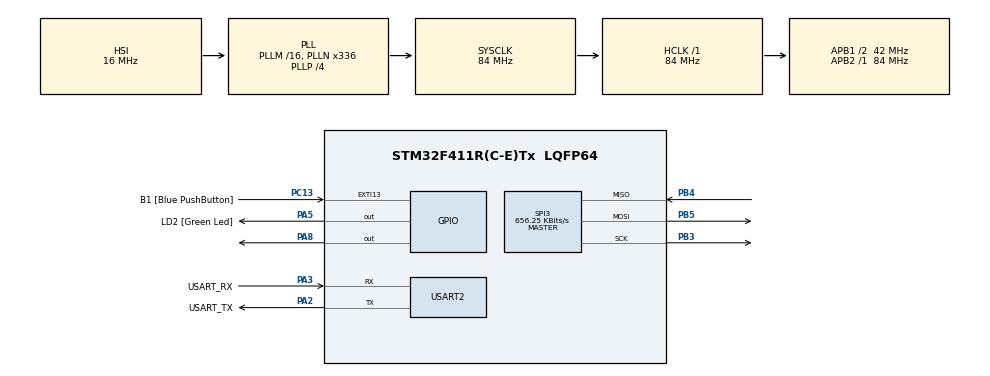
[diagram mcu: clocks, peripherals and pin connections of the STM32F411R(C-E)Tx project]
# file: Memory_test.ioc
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Mcu.Family=STM32F4
Mcu.Name=STM32F411R(C-E)Tx
Mcu.Package=LQFP64
NVIC.PriorityGroup=NVIC_PRIORITYGROUP_0
PA13.GPIO_Label=TMS
PA13.Mode=Serial_Wire
PA13.Signal=SYS_JTMS-SWDIO
PA14.GPIO_Label=TCK
PA14.Mode=Serial_Wire
PA14.Signal=SYS_JTCK-SWCLK
PA2.GPIO_Label=USART_TX
PA2.Mode=Asynchronous
PA2.Signal=USART2_TX
PA3.GPIO_Label=USART_RX
PA3.Mode=Asynchronous
PA3.Signal=USART2_RX
PA5.GPIO_Label=LD2 [Green Led]
PA5.Signal=GPIO_Output
PA8.Signal=GPIO_Output
PB3.Mode=Full_Duplex_Master
PB3.Signal=SPI3_SCK
PB4.Mode=Full_Duplex_Master
PB4.Signal=SPI3_MISO
PB5.Mode=Full_Duplex_Master
PB5.Signal=SPI3_MOSI
PC13-ANTI_TAMP.GPIO_Label=B1 [Blue PushButton]
PC13-ANTI_TAMP.GPIO_ModeDefaultEXTI=GPIO_MODE_IT_FALLING
PC13-ANTI_TAMP.Signal=GPXTI13
PC14-OSC32_IN.Mode=LSE-External-Oscillator
PC14-OSC32_IN.Signal=RCC_OSC32_IN
PC15-OSC32_OUT.Mode=LSE-External-Oscillator
PC15-OSC32_OUT.Signal=RCC_OSC32_OUT
PH0\ -\ OSC_IN.Mode=HSE-External-Clock-Source
PH0\ -\ OSC_IN.Signal=RCC_OSC_IN
PH1\ -\ OSC_OUT.Mode=HSE-External-Clock-Source
PH1\ -\ OSC_OUT.Signal=RCC_OSC_OUT
ProjectManager.HeapSize=0x200
ProjectManager.StackSize=0x400
ProjectManager.TargetToolchain=STM32CubeIDE
RCC.48MHZClocksFreq_Value=84000000
RCC.AHBFreq_Value=84000000
RCC.APB1CLKDivider=RCC_HCLK_DIV2
RCC.APB1Freq_Value=42000000
RCC.APB1TimFreq_Value=84000000
RCC.APB2Freq_Value=84000000
RCC.APB2TimFreq_Value=84000000
RCC.CortexFreq_Value=84000000
RCC.FLatency-AdvancedSettings=FLASH_LATENCY_2
RCC.HCLKFreq_Value=84000000
RCC.HSE_VALUE=8000000
RCC.HSI_VALUE=16000000
RCC.PLLN=336
RCC.PLLP=RCC_PLLP_DIV4
RCC.SYSCLKFreq_VALUE=84000000
RCC.SYSCLKSource=RCC_SYSCLKSOURCE_PLLCLK
RCC.VCOOutputFreq_Value=336000000
SPI3.BaudRatePrescaler=SPI_BAUDRATEPRESCALER_64
SPI3.CalculateBaudRate=656.25 KBits/s
SPI3.Direction=SPI_DIRECTION_2LINES
SPI3.Mode=SPI_MODE_MASTER
SPI3.VirtualType=VM_MASTER
USART2.VirtualMode=VM_ASYNC
board=NUCLEO-F411RE

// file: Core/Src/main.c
/* USER CODE BEGIN Header */
/**
  ******************************************************************************
  * @file           : main.c
  * @brief          : Main program body
  ******************************************************************************
  * @attention
  *
  * Copyright (c) 2024 STMicroelectronics.
  * All rights reserved.
  *
  * This software is licensed under terms that can be found in the LICENSE file
  * in the root directory of this software component.
  * If no LICENSE file comes with this software, it is provided AS-IS.
  *
  ******************************************************************************
  */
/* USER CODE END Header */
#include "main.h"

/* USER CODE BEGIN Includes */
#include <stdio.h>
#include <string.h>
/* USER CODE END Includes */

SPI_HandleTypeDef hspi3;

UART_HandleTypeDef huart2;

/* USER CODE BEGIN PV */

	//W25Q16JV instructions
const uint8_t MEM_WRITE_ENABLE 		= 0x06;
const uint8_t MEM_WRITE_DISABLE 	= 0x04;
const uint8_t MEM_READ_DATA	 		= 0x03;
const uint8_t MEM_PAGE_WRITE		= 0x02;
const uint8_t MEM_READ_STATUS_REG	= 0x05;
const uint8_t MEM_CHIP_ERASE 		= 0x60;
const uint8_t MEM_STAT_REG_1_WRITE  = 0x01;

/* USER CODE END PV */

void SystemClock_Config(void);
static void MX_GPIO_Init(void);
static void MX_USART2_UART_Init(void);
static void MX_SPI3_Init(void);
/* USER CODE BEGIN PFP */

void WaitBusyMem(void);

/* USER CODE END PFP */

int main(void)
{

  /* USER CODE BEGIN 1 */
	char uart_buffer[50];
	int uart_buffer_lenght;
	uint32_t spi_buf;
	HAL_StatusTypeDef returnStatus;
	uint32_t addr,masked_addr;
	uint8_t data1, data2;
	uint32_t data_buffer;
	uint64_t write_buffer;
	uint32_t read_buffer;
	uint8_t data_print1, data_print2, data_print3, data_print4;
	uint8_t from_mem;
	uint16_t status_write;

  /* USER CODE END 1 */

  /* MCU Configuration--------------------------------------------------------*/

  /* Reset of all peripherals, Initializes the Flash interface and the Systick. */
  HAL_Init();

  /* Configure the system clock */
  SystemClock_Config();

  /* Initialize all configured peripherals */
  MX_GPIO_Init();
  MX_USART2_UART_Init();
  MX_SPI3_Init();
  /* USER CODE BEGIN 2 */

  	  //Chip select line of memory is high as default
  HAL_GPIO_WritePin(GPIOA, GPIO_PIN_8, GPIO_PIN_SET);

  uart_buffer_lenght = sprintf(uart_buffer, "MEMORY TEST\r\n");
  HAL_UART_Transmit(&huart2, (uint8_t *)uart_buffer, uart_buffer_lenght, 100);

  //send write enable
  HAL_GPIO_WritePin(GPIOA, GPIO_PIN_8, GPIO_PIN_RESET);
  HAL_SPI_Transmit(&hspi3, (uint8_t *)&MEM_WRITE_ENABLE, 1, 100); //should return HAL_OK
  HAL_GPIO_WritePin(GPIOA, GPIO_PIN_8, GPIO_PIN_SET);

  //prova

  //reset the chip
  HAL_GPIO_WritePin(GPIOA, GPIO_PIN_8, GPIO_PIN_RESET);
  returnStatus = HAL_SPI_Transmit(&hspi3, (uint8_t *)&MEM_CHIP_ERASE, 1, 100); //should return HAL_OK
  HAL_GPIO_WritePin(GPIOA, GPIO_PIN_8, GPIO_PIN_SET);

  //wait for reset

  WaitBusyMem();

  //set status reg flags:
  status_write = 0;
  status_write = status_write | MEM_STAT_REG_1_WRITE;

  HAL_GPIO_WritePin(GPIOA, GPIO_PIN_8, GPIO_PIN_RESET);
  HAL_SPI_Transmit(&hspi3, (uint8_t *)&MEM_WRITE_ENABLE, 1, 100); //should return HAL_OK
  HAL_GPIO_WritePin(GPIOA, GPIO_PIN_8, GPIO_PIN_SET);

  HAL_GPIO_WritePin(GPIOA, GPIO_PIN_8, GPIO_PIN_RESET);
  HAL_SPI_Transmit(&hspi3, (uint8_t *)&status_write, 2, 100); //should return HAL_OK
  HAL_GPIO_WritePin(GPIOA, GPIO_PIN_8, GPIO_PIN_SET);

  addr = 0;
  data1 = 2;
  data2 = 3;
   /* USER CODE END 2 */

  /* Infinite loop */
  while (1)
  {

	  //spi_buf = 0;
//	  		  masked_addr = 0x00FFFFFF & addr; //qui non dovrebbe servire, ma lo facciamo lo stesso
//	  		  read_buffer = 0;
//	  		  read_buffer = read_buffer | ((uint32_t) masked_addr) << 8;
//	  		  read_buffer = read_buffer | ((uint32_t) MEM_READ_DATA);
//	  	  //read data
//	  		  HAL_GPIO_WritePin(GPIOA, GPIO_PIN_8, GPIO_PIN_RESET);
//	  		  HAL_SPI_Transmit(&hspi3, (uint8_t *)&read_buffer, 4, 100);
//	  		  HAL_SPI_Receive(&hspi3, (uint8_t*)&spi_buf, 4, 100);
//	  		  HAL_GPIO_WritePin(GPIOA, GPIO_PIN_8, GPIO_PIN_SET);
//
//	  		  WaitBusyMem();
//
//	  		  if (spi_buf == 0xffffffff) {
//	  			uart_buffer_lenght = sprintf(uart_buffer, "value: %x r\n",(unsigned int)addr );
//	  			HAL_UART_Transmit(&huart2, (uint8_t *)uart_buffer, uart_buffer_lenght, 100);
//			}

//	  HAL_GPIO_WritePin(GPIOA, GPIO_PIN_8, GPIO_PIN_RESET);
//	  HAL_SPI_Transmit(&hspi3, (uint8_t *)&MEM_READ_STATUS_REG, 1, 100);
//	  HAL_SPI_Receive(&hspi3, (uint8_t*)&from_mem, 1, 100);
//	  HAL_GPIO_WritePin(GPIOA, GPIO_PIN_8, GPIO_PIN_SET);
//
//	  write_buffer = 0;
//	  write_buffer = ((uint64_t) data_buffer) << 32;
//	  write_buffer = write_buffer | ((uint64_t) addr) << 8;
//	  write_buffer = write_buffer | ((uint64_t) MEM_PAGE_WRITE);
//
//	  HAL_GPIO_WritePin(GPIOA, GPIO_PIN_8, GPIO_PIN_RESET);
//	  returnStatus = HAL_SPI_Transmit(&hspi3, (uint8_t *)&MEM_WRITE_ENABLE, 1, 100); //should return HAL_OK
//	  HAL_GPIO_WritePin(GPIOA, GPIO_PIN_8, GPIO_PIN_SET);
//
//	  HAL_GPIO_WritePin(GPIOA, GPIO_PIN_8, GPIO_PIN_RESET);
//	  HAL_SPI_Transmit(&hspi3, (uint8_t *)&MEM_READ_STATUS_REG, 1, 100);
//	  HAL_SPI_Receive(&hspi3, (uint8_t*)&from_mem, 1, 100);
//	  HAL_GPIO_WritePin(GPIOA, GPIO_PIN_8, GPIO_PIN_SET);
//
//
//	  HAL_GPIO_WritePin(GPIOA, GPIO_PIN_8, GPIO_PIN_RESET);
//	  returnStatus = HAL_SPI_Transmit(&hspi3, (uint8_t *)&write_buffer, 8, 100);
//	  HAL_GPIO_WritePin(GPIOA, GPIO_PIN_8, GPIO_PIN_SET);
//
//
//	  HAL_GPIO_WritePin(GPIOA, GPIO_PIN_8, GPIO_PIN_RESET);
//	  HAL_SPI_Transmit(&hspi3, (uint8_t *)&MEM_READ_STATUS_REG, 1, 100);
//	  HAL_SPI_Receive(&hspi3, (uint8_t*)&from_mem, 1, 100);
//	  HAL_GPIO_WritePin(GPIOA, GPIO_PIN_8, GPIO_PIN_SET);
//
//	  read_buffer = 0;
//	  read_buffer = read_buffer | ((uint32_t) addr) << 8;
//	  read_buffer = read_buffer | ((uint32_t) MEM_READ_DATA);
//
//	  HAL_GPIO_WritePin(GPIOA, GPIO_PIN_8, GPIO_PIN_RESET);
//	  returnStatus = HAL_SPI_Transmit(&hspi3, (uint8_t *)&read_buffer, 4, 100);
//	  returnStatus = HAL_SPI_Receive(&hspi3, (uint8_t*)&spi_buf, 4, 100);
//	  HAL_GPIO_WritePin(GPIOA, GPIO_PIN_8, GPIO_PIN_SET);
//  }

	  addr = 0;
	  spi_buf = 0;

	  for(int i = 0; i < 10; i++){
		  data_buffer = 0;
		  data_buffer = data_buffer | ((uint32_t)data1) << 24;
		  data_buffer = data_buffer | ((uint32_t)data2) << 16;

		  data1 = i * 2;
		  data2 = i * 3;

		  data_buffer = data_buffer | ((uint32_t)data1) << 8;
		  data_buffer = data_buffer | ((uint32_t)data2);

		  masked_addr = 0x00FFFFFF & addr;
		  write_buffer = 0;
		  write_buffer = ((uint64_t) data_buffer) << 32;
		  write_buffer = write_buffer | ((uint64_t) masked_addr) << 8;
		  write_buffer = write_buffer | ((uint64_t) MEM_PAGE_WRITE);

		  HAL_GPIO_WritePin(GPIOA, GPIO_PIN_8, GPIO_PIN_RESET);
		  returnStatus = HAL_SPI_Transmit(&hspi3, (uint8_t *)&MEM_WRITE_ENABLE, 1, 100); //should return HAL_OK
		  HAL_GPIO_WritePin(GPIOA, GPIO_PIN_8, GPIO_PIN_SET);
		//send data
		  HAL_GPIO_WritePin(GPIOA, GPIO_PIN_8, GPIO_PIN_RESET);
		  HAL_SPI_Transmit(&hspi3, (uint8_t *)&write_buffer, 8, 100);
		  HAL_GPIO_WritePin(GPIOA, GPIO_PIN_8, GPIO_PIN_SET);

		  WaitBusyMem();

		  data1 = data1 * 4;
		  data2 = data2 * 5;

		  addr += 256;
	  }

	  addr = 0;
	  for(int i = 0; i < 10; i++){
		  masked_addr = 0x00FFFFFF & addr; //qui non dovrebbe servire, ma lo facciamo lo stesso
		  read_buffer = 0;
		  read_buffer = read_buffer | ((uint32_t) masked_addr) << 8;
		  read_buffer = read_buffer | ((uint32_t) MEM_READ_DATA);
	  //read data
		  HAL_GPIO_WritePin(GPIOA, GPIO_PIN_8, GPIO_PIN_RESET);
		  HAL_SPI_Transmit(&hspi3, (uint8_t *)&read_buffer, 4, 100);
		  HAL_SPI_Receive(&hspi3, (uint8_t*)&spi_buf, 4, 100);
		  HAL_GPIO_WritePin(GPIOA, GPIO_PIN_8, GPIO_PIN_SET);

		  WaitBusyMem();

		  data_print1 = (spi_buf>>24) & 0xFF;
		  data_print2 = (spi_buf>>16) & 0xFF;
		  data_print3 = (spi_buf>>8) & 0xFF;
		  data_print4 = (spi_buf) & 0xFF;

		  uart_buffer_lenght = sprintf(uart_buffer, "values: %x | %x | %x | %x\r\n",(unsigned int)data_print1, (unsigned int)data_print2,(unsigned int)data_print3,(unsigned int)data_print4 );
		  HAL_UART_Transmit(&huart2, (uint8_t *)uart_buffer, uart_buffer_lenght, 100);

		  addr += 256;
	  }

  }
}

void WaitBusyMem(void){
	uint8_t  from_mem;
	do{
		  HAL_GPIO_WritePin(GPIOA, GPIO_PIN_8, GPIO_PIN_RESET);
		  HAL_SPI_Transmit(&hspi3, (uint8_t *)&MEM_READ_STATUS_REG, 1, 100);
		  HAL_SPI_Receive(&hspi3, (uint8_t*)&from_mem, 1, 100);
		  HAL_GPIO_WritePin(GPIOA, GPIO_PIN_8, GPIO_PIN_SET);
		  HAL_Delay(5);
	  }while((from_mem & 0x01) != 0); //busy is the rightmost bit of status reg

	return;
}

void SystemClock_Config(void)
{
  RCC_OscInitTypeDef RCC_OscInitStruct = {0};
  RCC_ClkInitTypeDef RCC_ClkInitStruct = {0};

  /** Configure the main internal regulator output voltage
  */
  __HAL_RCC_PWR_CLK_ENABLE();
  __HAL_PWR_VOLTAGESCALING_CONFIG(PWR_REGULATOR_VOLTAGE_SCALE1);

  /** Initializes the RCC Oscillators according to the specified parameters
  * in the RCC_OscInitTypeDef structure.
  */
  RCC_OscInitStruct.OscillatorType = RCC_OSCILLATORTYPE_HSI;
  RCC_OscInitStruct.HSIState = RCC_HSI_ON;
  RCC_OscInitStruct.HSICalibrationValue = RCC_HSICALIBRATION_DEFAULT;
  RCC_OscInitStruct.PLL.PLLState = RCC_PLL_ON;
  RCC_OscInitStruct.PLL.PLLSource = RCC_PLLSOURCE_HSI;
  RCC_OscInitStruct.PLL.PLLM = 16;
  RCC_OscInitStruct.PLL.PLLN = 336;
  RCC_OscInitStruct.PLL.PLLP = RCC_PLLP_DIV4;
  RCC_OscInitStruct.PLL.PLLQ = 4;
  if (HAL_RCC_OscConfig(&RCC_OscInitStruct) != HAL_OK)
  {
    Error_Handler();
  }

  /** Initializes the CPU, AHB and APB buses clocks
  */
  RCC_ClkInitStruct.ClockType = RCC_CLOCKTYPE_HCLK|RCC_CLOCKTYPE_SYSCLK
                              |RCC_CLOCKTYPE_PCLK1|RCC_CLOCKTYPE_PCLK2;
  RCC_ClkInitStruct.SYSCLKSource = RCC_SYSCLKSOURCE_PLLCLK;
  RCC_ClkInitStruct.AHBCLKDivider = RCC_SYSCLK_DIV1;
  RCC_ClkInitStruct.APB1CLKDivider = RCC_HCLK_DIV2;
  RCC_ClkInitStruct.APB2CLKDivider = RCC_HCLK_DIV1;

  if (HAL_RCC_ClockConfig(&RCC_ClkInitStruct, FLASH_LATENCY_2) != HAL_OK)
  {
    Error_Handler();
  }
}

static void MX_SPI3_Init(void)
{

  /* SPI3 parameter configuration*/
  hspi3.Instance = SPI3;
  hspi3.Init.Mode = SPI_MODE_MASTER;
  hspi3.Init.Direction = SPI_DIRECTION_2LINES;
  hspi3.Init.DataSize = SPI_DATASIZE_8BIT;
  hspi3.Init.CLKPolarity = SPI_POLARITY_LOW;
  hspi3.Init.CLKPhase = SPI_PHASE_1EDGE;
  hspi3.Init.NSS = SPI_NSS_SOFT;
  hspi3.Init.BaudRatePrescaler = SPI_BAUDRATEPRESCALER_64;
  hspi3.Init.FirstBit = SPI_FIRSTBIT_MSB;
  hspi3.Init.TIMode = SPI_TIMODE_DISABLE;
  hspi3.Init.CRCCalculation = SPI_CRCCALCULATION_DISABLE;
  hspi3.Init.CRCPolynomial = 10;
  if (HAL_SPI_Init(&hspi3) != HAL_OK)
  {
    Error_Handler();
  }

}

static void MX_USART2_UART_Init(void)
{

  huart2.Instance = USART2;
  huart2.Init.BaudRate = 115200;
  huart2.Init.WordLength = UART_WORDLENGTH_8B;
  huart2.Init.StopBits = UART_STOPBITS_1;
  huart2.Init.Parity = UART_PARITY_NONE;
  huart2.Init.Mode = UART_MODE_TX_RX;
  huart2.Init.HwFlowCtl = UART_HWCONTROL_NONE;
  huart2.Init.OverSampling = UART_OVERSAMPLING_16;
  if (HAL_UART_Init(&huart2) != HAL_OK)
  {
    Error_Handler();
  }

}

static void MX_GPIO_Init(void)
{
  GPIO_InitTypeDef GPIO_InitStruct = {0};

  /* GPIO Ports Clock Enable */
  __HAL_RCC_GPIOC_CLK_ENABLE();
  __HAL_RCC_GPIOH_CLK_ENABLE();
  __HAL_RCC_GPIOA_CLK_ENABLE();
  __HAL_RCC_GPIOB_CLK_ENABLE();

  /*Configure GPIO pin Output Level */
  HAL_GPIO_WritePin(GPIOA, LD2_Pin|GPIO_PIN_8, GPIO_PIN_RESET);

  /*Configure GPIO pin : B1_Pin */
  GPIO_InitStruct.Pin = B1_Pin;
  GPIO_InitStruct.Mode = GPIO_MODE_IT_FALLING;
  GPIO_InitStruct.Pull = GPIO_NOPULL;
  HAL_GPIO_Init(B1_GPIO_Port, &GPIO_InitStruct);

  /*Configure GPIO pins : LD2_Pin PA8 */
  GPIO_InitStruct.Pin = LD2_Pin|GPIO_PIN_8;
  GPIO_InitStruct.Mode = GPIO_MODE_OUTPUT_PP;
  GPIO_InitStruct.Pull = GPIO_NOPULL;
  GPIO_InitStruct.Speed = GPIO_SPEED_FREQ_LOW;
  HAL_GPIO_Init(GPIOA, &GPIO_InitStruct);

}

void Error_Handler(void)
{
  __disable_irq();
  while (1)
  {
  }
}
